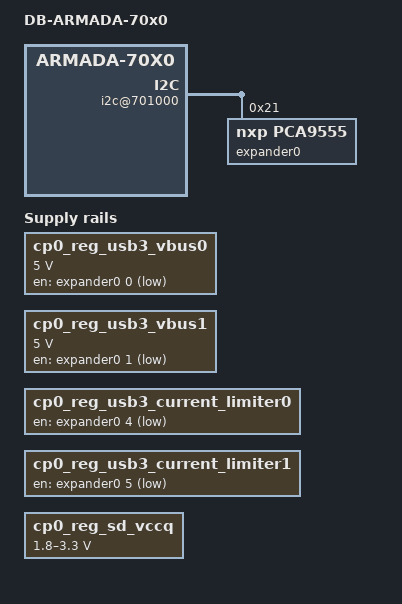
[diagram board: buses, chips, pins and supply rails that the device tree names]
// SPDX-License-Identifier: GPL-2.0+
/*
 * Copyright (C) 2018 Marvell International Ltd.
 */

#include "armada-70x0.dtsi" /* include SoC device tree */
#include "armada-7040-dev-info.dtsi"

#define CP110_NUM				0
#define SPI_DIRECT_BASE				(0xf9000000)

/ {
	model = "DB-ARMADA-70x0";
	compatible = "marvell,armada-70x0-db", "marvell,armada-70x0";

	cp0 {
		config-space {
			ranges = <0x0 U64_TO_U32_H(CP110_BASE) U64_TO_U32_L(CP110_BASE) 0x2000000>,			/* internal regs */
				 <0x2000000 U64_TO_U32_H(SPI_DIRECT_BASE) U64_TO_U32_L(SPI_DIRECT_BASE) 0x1000000>;	/* SPI1-DEV0 */
			i2c@701000 {
				expander0: pca953x@21 {
					compatible = "nxp,pca9555";
					#gpio-cells = <2>;
					reg = <0x21>;
					status = "okay";
				};
			};

			sdhci@780000 {
				vqmmc-supply = <&cp0_reg_sd_vccq>;
			};

			cp0_reg_usb3_vbus0:cp0_usb3_vbus@0 {
				compatible = "regulator-fixed";
				regulator-min-microvolt = <5000000>;
				regulator-max-microvolt = <5000000>;
				startup-delay-us = <100000>;
				regulator-force-boot-off;
				gpio = <&expander0 0 GPIO_ACTIVE_HIGH>;
			};

			cp0_reg_usb3_vbus1: cp0_usb3_vbus@1 {
				compatible = "regulator-fixed";
				regulator-min-microvolt = <5000000>;
				regulator-max-microvolt = <5000000>;
				startup-delay-us = <100000>;
				regulator-force-boot-off;
				gpio = <&expander0 1 GPIO_ACTIVE_HIGH>;
			};

			cp0_reg_usb3_current_limiter0:cp0_usb3_current_limiter@0 {
				compatible = "regulator-fixed";
				regulator-min-microamp = <900000>;
				regulator-max-microamp = <900000>;
				regulator-force-boot-off;
				gpio = <&expander0 4 GPIO_ACTIVE_HIGH>;
			};

			cp0_reg_usb3_current_limiter1: cp0_usb3_current_limiter@1 {
				compatible = "regulator-fixed";
				regulator-min-microamp = <900000>;
				regulator-max-microamp = <900000>;
				regulator-force-boot-off;
				gpio = <&expander0 5 GPIO_ACTIVE_HIGH>;
			};

			cp0_usb3_0: usb3@500000 {
				vbus-supply = <&cp0_reg_usb3_vbus0>;
				current-limiter = <&cp0_reg_usb3_current_limiter0>;
				vbus-disable-delay = <500>;
			};

			cp0_usb3_1: usb3@510000 {
				vbus-supply = <&cp0_reg_usb3_vbus1>;
				current-limiter = <&cp0_reg_usb3_current_limiter1>;
				vbus-disable-delay = <500>;
			};

			cp0_reg_sd_vccq: cp0_sd_vccq@0 {
				compatible = "regulator-gpio";
				regulator-name = "cp0_sd_vcc";
				regulator-min-microvolt = <1800000>;
				regulator-max-microvolt = <3300000>;
				gpios = <&expander0 15 GPIO_ACTIVE_HIGH>;
				states = <1800000 0x1
					  3300000 0x0>;
			};
		};
	};
};
